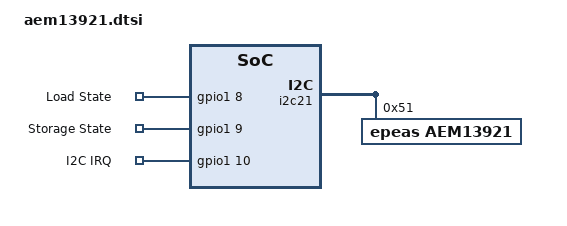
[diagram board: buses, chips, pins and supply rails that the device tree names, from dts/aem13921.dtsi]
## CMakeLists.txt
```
# SPDX-License-Identifier: Apache-2.0

cmake_minimum_required(VERSION 3.20.0)

set(EXTRA_DTC_OVERLAY_FILE "dts/dts.overlay")
set(TOOLCHAIN_HAS_PICOLIBC ON CACHE BOOL "Force toolchain picolibc support" FORCE)
list(APPEND ZEPHYR_EXTRA_MODULES "/home/theorlangur/myapps/cpp/nrf/libs/aem13921")

find_package(Zephyr REQUIRED HINTS $ENV{ZEPHYR_BASE})
project(smartwater)

target_include_directories(app PRIVATE submodules/esp_generic_lib/include)

set(SRCS 
    src/main.cpp
    src/usb_uart.cpp
    src/soil_task.cpp
    src/pump_and_pressure_task.cpp
    src/zigbee.cpp
)

target_sources(app PRIVATE ${SRCS})

add_subdirectory(submodules/nrf_general)
add_subdirectory(submodules/nrf_uart)
add_subdirectory(submodules/nrf_zbm_cpp)

target_include_directories(NrfLibUART PRIVATE submodules/esp_generic_lib/include)

target_link_libraries(app PUBLIC NrfLibGeneral)
target_link_libraries(app PUBLIC NrfZBMCpp)
target_include_directories(NrfZBMCpp PRIVATE $<TARGET_PROPERTY:app,INCLUDE_DIRECTORIES>)

target_link_libraries(app PUBLIC NrfLibUART)

target_compile_options(app PRIVATE -fno-omit-frame-pointer)

target_link_libraries(app PRIVATE c stdc++ supc++)
# target_compile_options(app PRIVATE -fmacro-backtrace-limit=0)
target_compile_options(app PRIVATE -D__cpp_concepts=202002L -Wno-builtin-macro-redefined -Wno-invalid-offsetof -Wno-unused-variable -Wno-double-promotion)
target_compile_options(app PRIVATE -freflection)
```

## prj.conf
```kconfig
#
# Copyright (c) 2020 Nordic Semiconductor ASA
#
# SPDX-License-Identifier: LicenseRef-Nordic-5-Clause
#
CONFIG_SERIAL=y
CONFIG_GPIO=y
CONFIG_ADC=y
CONFIG_SENSOR=y
CONFIG_PM_DEVICE=y
CONFIG_UART_USE_RUNTIME_CONFIGURE=y
# CONFIG_UART_NRFX_CUSTOM_BAUDRATE=y

CONFIG_SYSTEM_WORKQUEUE_STACK_SIZE=4096
CONFIG_OVERRIDE_FRAME_POINTER_DEFAULT=y
CONFIG_OMIT_FRAME_POINTER=n
CONFIG_EXTRA_EXCEPTION_INFO=y
CONFIG_HW_STACK_PROTECTION=y
# CONFIG_DEBUG=y
# CONFIG_NO_OPTIMIZATIONS=y
# CONFIG_DEBUG_OPTIMIZATIONS=n
CONFIG_THREAD_MONITOR=y
CONFIG_DEBUG_THREAD_INFO=y
CONFIG_INIT_STACKS=n
CONFIG_RESET_ON_FATAL_ERROR=n

CONFIG_REBOOT=y
CONFIG_RAM_POWER_DOWN_LIBRARY=y
CONFIG_SETTINGS=y
CONFIG_REGULATOR=y

CONFIG_BOOTLOADER_MCUBOOT=y

# CONFIG_DEBUG_COREDUMP=y
# CONFIG_DEBUG_COREDUMP_BACKEND_FLASH_PARTITION=y
# CONFIG_DEBUG_COREDUMP_MEMORY_DUMP_THREADS=y
# CONFIG_DEBUG_COREDUMP_THREADS_METADATA=y

# CONFIG_WATCHDOG=y
# CONFIG_WDT_DISABLE_AT_BOOT=y

CONFIG_HWINFO=y
CONFIG_AEM13921=y
```

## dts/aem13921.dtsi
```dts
/ {
	aem_irqs: aem_irqs {
		compatible = "gpio-keys";
		load: load{
			gpios = <&gpio1 8 (GPIO_ACTIVE_HIGH | GPIO_PULL_DOWN)>;
			label = "Load State";
		};
		sto: sto{
			gpios = <&gpio1 9 (GPIO_ACTIVE_HIGH | GPIO_PULL_DOWN)>;
			label = "Storage State";
		};
		i2c_irq: i2c_irq{
			gpios = <&gpio1 10 (GPIO_ACTIVE_HIGH | GPIO_PULL_DOWN)>;
			label = "I2C IRQ";
		};
	};
};


&i2c21 {
	aem13921: aem13921@51{
		compatible="epeas,aem13921";
		reg = <0x51>;
		status = "okay";
		//zephyr,deferred-init;
	};
};

&gpio1 {
	status = "okay";
};
```

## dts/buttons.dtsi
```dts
/ {
	buttons {
		compatible = "gpio-keys";

		button0: button_0 {
			gpios = <&gpio0 0 (GPIO_PULL_UP | GPIO_ACTIVE_LOW)>;
			label = "Button Boot";
		};
		button1: button_1 {
			gpios = <&gpio0 1 (GPIO_PULL_UP | GPIO_ACTIVE_LOW)>;
			label = "Button ZB";
		};
		button2: button_2 {
			gpios = <&gpio0 2 (GPIO_PULL_UP | GPIO_ACTIVE_LOW)>;
			label = "Button Ctrl";
		};
	};
};

&gpio0 {
	status = "okay";
};
```

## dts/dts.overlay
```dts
#include "partitions.dtsi"
#include "zigbee_partitions.dtsi"
#include "usb_uart.dtsi"
#include "buttons.dtsi"
#include "pump.dtsi"
#include "pressure.dtsi"
#include "soil.dtsi"
#include "aem13921.dtsi"

/ {
	chosen {
		ncs,zigbee-timer = &timer20;
		zephyr,code-partition = &slot0_partition;
		zephyr,console = &uart00;
	};

	zephyr,user {
		io-channels = <&adc 0>, <&adc 1>;
		io-channel-names = "pump_current", "pressure";
	};

	aliases {
	};

	cpuapp_sram@2002e800 {
		compatible = "zephyr,memory-region", "mmio-sram";
		reg = <0x2002e800 DT_SIZE_K(2)>;
		zephyr,memory-region = "BreadcrumbsMem";
		status = "okay";
		retainedmem {
			compatible = "zephyr,retained-ram";
			status = "okay";
		};
	};

};

&timer20 {
	status = "okay";
};

&pinctrl {
	//i2c sensor bus
	/omit-if-no-ref/ i2c21_default: i2c21_default {
		group1 {
			psels = <NRF_PSEL(TWIM_SDA, 1, 6)>,
				<NRF_PSEL(TWIM_SCL, 1, 5)>;
		};
	};

	/omit-if-no-ref/ i2c21_sleep: i2c21_sleep {
		group1 {
			psels = <NRF_PSEL(TWIM_SDA, 1, 6)>,
				<NRF_PSEL(TWIM_SCL, 1, 5)>;
			low-power-enable;
		};
	};
};

&i2c21 {
	status = "okay";
	pinctrl-0 = <&i2c21_default>;
	pinctrl-1 = <&i2c21_sleep>;
	pinctrl-names = "default", "sleep";
};


&cpuapp_sram {
	/* Shrink SRAM size to avoid overlap with retained memory region */
	reg = <0x20000000 DT_SIZE_K(186)>;
	ranges = <0x0 0x20000000 0x2e800>;
};
```

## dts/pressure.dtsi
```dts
&adc {
	status = "okay";
	#address-cells = <1>;
	#size-cells = <0>;

	channel@1 {
		reg = <1>;
		zephyr,gain = "ADC_GAIN_1_4";
		zephyr,reference = "ADC_REF_INTERNAL";
		zephyr,acquisition-time = <ADC_ACQ_TIME_DEFAULT>;
		zephyr,input-positive = <NRF_SAADC_AIN7>; /* P1.14 */
		zephyr,resolution = <12>;
	};
};

/ {
	pressure_sensor: pressure-sensor {
		compatible = "voltage-divider";
		status = "okay";
		io-channels = <&adc 1>;
		output-ohms = <10000>;
		full-ohms = <20000>;
	};
};

&gpio1 {
	status = "okay";
};
```

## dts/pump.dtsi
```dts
&adc {
	status = "okay";
	#address-cells = <1>;
	#size-cells = <0>;

	channel@0 {
		reg = <0>;
		zephyr,gain = "ADC_GAIN_1_4";
		zephyr,reference = "ADC_REF_INTERNAL";
		zephyr,acquisition-time = <ADC_ACQ_TIME_DEFAULT>;
		zephyr,input-positive = <NRF_SAADC_AIN3>; /* P1.07 */
		zephyr,resolution = <12>;
	};
};

/ {
	/* pump_pwm_ctrl: pump-pwm-regulator { */
	/* 	compatible = "regulator-fixed"; // Standard binding for fixed regulators */
	/* 	regulator-name = "pump_pwm_reg"; */
	/* 	status = "okay"; */
	/**/
	    /* GPIO controlling the MOSFET gate */
	    /* GPIO_ACTIVE_HIGH means the sensor is ON when GPIO is high */
	    /* Use GPIO_ACTIVE_LOW if your MOSFET logic is inverted */
	/* 	enable-gpios = <&gpio2 3 GPIO_ACTIVE_LOW>; */
	/**/
	    /* Optional: Define the voltage being regulated */
	/* 	// regulator-min-microvolt = ; // e.g., 3.3V */
	/* 	// regulator-max-microvolt = ; // e.g., 3.3V */
	/**/
	    /* Optional: Delay after enabling GPIO before regulator is considered stable */
	/* 	startup-delay-us = <100>; // 1us, adjust based on MOSFET and sensor VCC rise time */
	/**/
	    /* Optional: Specify that this regulator should be off initially */
	    /* regulator-boot-on; // Remove or comment out if you want it initially OFF */
	/* }; */

	pump_power_ctrl: pump-power-regulator {
		compatible = "regulator-fixed"; // Standard binding for fixed regulators
		regulator-name = "pump_power_reg";
		status = "okay";

		/* GPIO controlling the MOSFET gate */
		/* GPIO_ACTIVE_HIGH means the sensor is ON when GPIO is high */
		/* Use GPIO_ACTIVE_LOW if your MOSFET logic is inverted */
		enable-gpios = <&gpio1 4 GPIO_ACTIVE_HIGH>;

		/* Optional: Define the voltage being regulated */
		// regulator-min-microvolt = ; // e.g., 3.3V
		// regulator-max-microvolt = ; // e.g., 3.3V

		/* Optional: Delay after enabling GPIO before regulator is considered stable */
		startup-delay-us = <100000>; // 1us, adjust based on MOSFET and sensor VCC rise time

		/* Optional: Specify that this regulator should be off initially */
		//regulator-boot-on; // Remove or comment out if you want it initially OFF
	};
};

&gpio1 {
	status = "okay";
};

&gpio2 {
	status = "okay";
};
```

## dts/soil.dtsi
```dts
&adc {
	status = "okay";
	#address-cells = <1>;
	#size-cells = <0>;

	channel@2 {
		reg = <2>;
		zephyr,gain = "ADC_GAIN_1_4";
		zephyr,reference = "ADC_REF_INTERNAL";
		zephyr,acquisition-time = <ADC_ACQ_TIME_DEFAULT>;
		zephyr,input-positive = <NRF_SAADC_AIN4>; /* P1.11 */
		zephyr,resolution = <12>;
	};

	channel@3 {
		reg = <3>;
		zephyr,gain = "ADC_GAIN_1_4";
		zephyr,reference = "ADC_REF_INTERNAL";
		zephyr,acquisition-time = <ADC_ACQ_TIME_DEFAULT>;
		zephyr,input-positive = <NRF_SAADC_AIN5>; /* P1.12 */
		zephyr,resolution = <12>;
	};

	channel@4 {
		reg = <4>;
		zephyr,gain = "ADC_GAIN_1_4";
		zephyr,reference = "ADC_REF_INTERNAL";
		zephyr,acquisition-time = <ADC_ACQ_TIME_DEFAULT>;
		zephyr,input-positive = <NRF_SAADC_AIN6>; /* P1.13 */
		zephyr,resolution = <12>;
	};
};

/ {
	soil_sensors: soil-sensors{
		soil1_sensor: soil1-sensor {
			compatible = "voltage-divider";
			status = "okay";
			io-channels = <&adc 2>;
			power-gpios = <&gpio2 7 GPIO_ACTIVE_HIGH>;
			power-on-sample-delay-us = <50000>; 
			output-ohms = <100000>;
			full-ohms = <100000>;
		};

		soil2_sensor: soil2-sensor {
			compatible = "voltage-divider";
			status = "okay";
			io-channels = <&adc 3>;
			power-gpios = <&gpio2 8 GPIO_ACTIVE_HIGH>;
			power-on-sample-delay-us = <50000>; 
			output-ohms = <100000>;
			full-ohms = <100000>;
		};

		soil3_sensor: soil3-sensor {
			compatible = "voltage-divider";
			status = "okay";
			io-channels = <&adc 4>;
			power-gpios = <&gpio2 9 GPIO_ACTIVE_HIGH>;
			power-on-sample-delay-us = <50000>; 
			output-ohms = <100000>;
			full-ohms = <100000>;
		};
	};
};

&gpio1 {
	status = "okay";
};

&gpio2 {
	status = "okay";
};
```

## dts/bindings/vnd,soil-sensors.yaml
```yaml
description: Soil moisture ADC sensor group
compatible: "vnd,soil-sensors"

include: [base.yaml]

properties:
  io-channels:
    type: phandle-array
    required: true
    description: ADC channels connected to soil sensors
  power-regs:
    type: phandles
    required: true
    description: Power regulators on soil sensors
```

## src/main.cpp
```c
/*
 * Copyright (c) 2023, Meta
 *
 * SPDX-License-Identifier: Apache-2.0
 */

#include "lib_misc_helpers.hpp"
#define FORCE_FMT
#undef PRINTF_FUNC
#define PRINTF_FUNC(...) printk(__VA_ARGS__)

#include <zephyr/kernel.h>
#include <zephyr/drivers/gpio.h>
#include <zephyr/drivers/i2c.h>
#include <zephyr/settings/settings.h>
//#include <dk_buttons_and_leds.h>
//#include <nrf_general/led.h>

//#include <zephyr/drivers/sensor.h>
//#include <zephyr/drivers/sensor/ens160.h>

#include <zephyr/drivers/hwinfo.h>
#include <zephyr/drivers/watchdog.h>
#include <zephyr/storage/flash_map.h>
#include "usb_uart.hpp"
#include "threads_snapshot.hpp"
#include "partition_basic.hpp"
#include "soil_task.hpp"
#include "pump_and_pressure_task.hpp"
#include "zigbee.hpp"


#include <zephyr/logging/log.h>
#include <zephyr/drivers/sensor/aem13921.hpp>

#include <atomic>

//extern "C"{
//#include <zephyr/debug/coredump.h>
//
//void nrf_flash_skip_sync(bool skip);
//}

constexpr bool kDebug = false;

#define BREADCRUMBS_PARTITION		breadcrumbs_partition
#define BREADCRUMBS_PARTITION_ID	FIXED_PARTITION_ID(BREADCRUMBS_PARTITION)

LOG_MODULE_REGISTER(main_log, LOG_LEVEL_INF);


/**********************************************************************/
/* For testing purposes                                               */
/**********************************************************************/

static const struct gpio_dt_spec btn0 = GPIO_DT_SPEC_GET(DT_NODELABEL(button0), gpios);
static const struct gpio_dt_spec btn1 = GPIO_DT_SPEC_GET(DT_NODELABEL(button1), gpios);
static const struct gpio_dt_spec btn2 = GPIO_DT_SPEC_GET(DT_NODELABEL(button2), gpios);

static const struct gpio_dt_spec aem13921_irq = GPIO_DT_SPEC_GET(DT_NODELABEL(i2c_irq), gpios);

static struct gpio_callback btn0_cb_data;
static struct gpio_callback aem_cb_data;
static struct k_work test_measure_soil_work;

void measure_soil_handler(soil::soil_result_t *pResults, size_t count, uint32_t mask, void *pUserArg)
{
    for(size_t i = 0; i < count; ++i)
    {
	if (mask & (1 << i))
	{
	    auto &r = pResults[i];
	    if (r)
	    {
		LOG_INF("soil%d: %.2f%%", (int)i, double(*r));
	    }else
	    {
		LOG_INF("soil%d: %d (%s)", (int)i, r.error(), strerror(r.error()));
	    }
	}
    }
}

bool dump_aem_info = false;
static struct k_work btn0_work;
static void btn0_work_handler(struct k_work *work)
{
    LOG_INF("button press registered");
    dump_aem_info = true;
}

static void btn0_isr(const struct device *dev, struct gpio_callback *cb, uint32_t pins)
{
    /* Defer PM state change out of interrupt context */
    //soil::run_measurements({.soil_sensors_mask = 0b0111, .callback = measure_soil_handler});
    //pump::command(pump::start_t{.duration = 10000, .power_percentage = 80}, nullptr, nullptr);
    pump::command(pump::pressure_measure_t{}, nullptr, nullptr);
    k_work_submit(&btn0_work);
}


void on_pressure_measured(float level_percentage)
{
    LOG_INF("Received pressure measurement: %.2f", level_percentage);
}

static const struct device *const aem13921_dev = DEVICE_DT_GET(DT_NODELABEL(aem13921));

size_t dbg_dump_aem13921_status(epeas::status_t s, char *buf, size_t sz)
{
    size_t used_len = 0;
    char *p = buf;
    auto add_flag = [&](bool f, std::string_view v)
    {
	if (f && (used_len + v.size() + 1) <= sz)
	{
	    strcpy(p, v.data());
	    p += v.size();
	    used_len += v.size();
	}
    };
    add_flag(s.bits.ovdischarge, "ovdis; ");
    add_flag(s.bits.charge_ready, "chrdy; ");
    add_flag(s.bits.overcharge, "ovch; ");
    add_flag(s.bits.src1_low, "s1low; ");
    add_flag(s.bits.src2_low, "s2low; ");
    add_flag(s.bits.charger_5v_connected, "ch5v; ");
    add_flag(s.bits.temp_cold_charge, "t_cold_ch; ");
    add_flag(s.bits.temp_hot_charge, "t_hot_ch; ");
    add_flag(s.bits.temp_cold_dis, "t_cold_dis; ");
    add_flag(s.bits.temp_hot_discharge, "t_hot_dis; ");
    return used_len;
}

void dbg_aem13921()
{
    LOG_INF("<================AEM13921=================>");
	//   {
	//auto irq = epeas::aem1392x_get_irq_state(aem13921_dev);
	//if (irq)
	//{
	//    LOG_INF("irq: 0x%X 0x%X", (*irq).bytes[0], (*irq).bytes[1]);
	//}else
	//{
	//    LOG_ERR("irq: failed with %d %s", irq.error(), strerror(irq.error()));
	//}
	//   }
    {
	auto status = epeas::aem1392x_get_status(aem13921_dev);
	if (status)
	{
	    char buf[128]={0};
	    dbg_dump_aem13921_status(*status, buf, sizeof(buf));
	    LOG_INF("status: 0x%X 0x%X; %s", (*status).bytes[0], (*status).bytes[1], buf);
	}else
	{
	    LOG_ERR("status: failed with %d %s", status.error(), strerror(status.error()));
	}
    }

    {
	auto apm_err = epeas::aem1392x_get_apm_error(aem13921_dev);
	if (apm_err)
	{
	    LOG_INF("apm error: 0x%X", apm_err->byte);
	}
	else
	{
	    LOG_ERR("apm error: failed with %d %s", apm_err.error(), strerror(apm_err.error()));
	}
    }

    {
	auto apm_5v = epeas::aem1392x_get_apm_ch5v(aem13921_dev);
	if (apm_5v)
	{
	    LOG_INF("apm 5v: %d", apm_5v->value);
	}
	else
	{
	    LOG_ERR("apm 5v: failed with %d %s", apm_5v.error(), strerror(apm_5v.error()));
	}
    }
    {
	auto apm_src1 = epeas::aem1392x_get_apm_src1(aem13921_dev);
	if (apm_src1)
	{
	    std::visit(
		overloaded{
		    [](const epeas::apm_counter_no_acc_t &v)
		    {
			LOG_INF("apm src1 cnt no acc: %d", v.value.counter);
		    },
		    [](const epeas::apm_counter_acc_t &v)
		    {
			LOG_INF("apm src1 cnt acc: %d:%d", v.value.offset, v.value.counter);
		    },
		    [](const epeas::apm_power_meter_acc_t &v)
		    {
			LOG_INF("apm src1 power: %d:%d", v.value.offset, v.value.power);
		    }
		},
		*apm_src1
	    );
	}
	else
	{
	    LOG_ERR("apm src1: failed with %d %s", apm_src1.error(), strerror(apm_src1.error()));
	}
    }
    {
	auto apm_src2 = epeas::aem1392x_get_apm_src2(aem13921_dev);
	if (apm_src2)
	{
	    std::visit(
		overloaded{
		    [](const epeas::apm_counter_no_acc_t &v)
		    {
			LOG_INF("apm src2 cnt no acc: %d", v.value.counter);
		    },
		    [](const epeas::apm_counter_acc_t &v)
		    {
			LOG_INF("apm src2 cnt acc: %d:%d", v.value.offset, v.value.counter);
		    },
		    [](const epeas::apm_power_meter_acc_t &v)
		    {
			LOG_INF("apm src2 power: %d:%d", v.value.offset, v.value.power);
		    }
		},
		*apm_src2
	    );
	}
	else
	{
	    LOG_ERR("apm src2: failed with %d %s", apm_src2.error(), strerror(apm_src2.error()));
	}
    }
    {
	auto apm_load = epeas::aem1392x_get_apm_load(aem13921_dev);
	if (apm_load)
	{
	    std::visit(
		overloaded{
		    [](const epeas::apm_counter_no_acc_t &v)
		    {
			LOG_INF("apm load cnt no acc: %d", v.value.counter);
		    },
		    [](const epeas::apm_counter_acc_t &v)
		    {
			LOG_INF("apm load cnt acc: %d:%d", v.value.offset, v.value.counter);
		    },
		    [](const epeas::apm_power_meter_acc_t &v)
		    {
			LOG_INF("apm load power: %d:%d", v.value.offset, v.value.power);
		    }
		},
		*apm_load
	    );
	}
	else
	{
	    LOG_ERR("apm load: failed with %d %s", apm_load.error(), strerror(apm_load.error()));
	}
    }
    {
	auto storage_v = epeas::aem1392x_get_storage_voltage(aem13921_dev);
	if (storage_v)
	{
	    LOG_INF("storage v: %.3f", (double)*storage_v);
	}
	else
	{
	    LOG_ERR("storage v: failed with %d %s", storage_v.error(), strerror(storage_v.error()));
	}
    }
    {
	auto src1_v = epeas::aem1392x_get_src_voltage(aem13921_dev, epeas::src_t::_1);
	if (src1_v)
	{
	    LOG_INF("src1 v: %.3f", (double)*src1_v);
	}
	else
	{
	    LOG_ERR("src1 v: failed with %d %s", src1_v.error(), strerror(src1_v.error()));
	}
    }
    {
	auto src2_v = epeas::aem1392x_get_src_voltage(aem13921_dev, epeas::src_t::_2);
	if (src2_v)
	{
	    LOG_INF("src2 v: %.3f", (double)*src2_v);
	}
	else
	{
	    LOG_ERR("src2 v: failed with %d %s", src2_v.error(), strerror(src2_v.error()));
	}
    }
    LOG_INF("<================AEM13921=================>");
}

static uint64_t total_load_power = 0;
static struct k_work aem_work;
static void aem_work_handler(struct k_work *work)
{
    //LOG_INF("AEM interrupt");
    auto state = epeas::aem1392x_get_irq_state(aem13921_dev);
    if (state)
    {
	auto s = *state;
	//LOG_INF("irq: 0x%X 0x%X", s.bytes[0], s.bytes[1]);
	if (s.bits.apm_done)
	{
	    auto print_apm = [](const auto &apm, const char *pPrefix){
		if (apm)
		{
		    std::visit(
			    overloaded{
				[&](const epeas::apm_counter_acc_t &rv)
				{
				    if (auto v = rv.get_value())
					LOG_INF("%s (counter acc): %llu", pPrefix, v);
				},
				[&](const epeas::apm_counter_no_acc_t &rv)
				{
				    if (rv.value.counter)
					LOG_INF("%s (counter no acc): %u", pPrefix, rv.value.counter);
				},
				[&](const epeas::apm_power_meter_acc_t &rv)
				{
				    if (auto v = rv.get_value())
					LOG_INF("%s (power): %llu", pPrefix, v);
				}
			    },
			    *apm
			);
		}else
		{
		    LOG_ERR("%s: failed with %d %s", pPrefix, apm.error(), strerror(apm.error()));
		}
	    };

	    {
		auto apm_load = epeas::aem1392x_get_apm_load(aem13921_dev);
		print_apm(apm_load, "APM Load");
	    }
	    {
		auto apm_src1 = epeas::aem1392x_get_apm_src1(aem13921_dev);
		print_apm(apm_src1, "APM Src1");
	    }
	    {
		auto apm_src2 = epeas::aem1392x_get_apm_src2(aem13921_dev);
		print_apm(apm_src2, "APM Src2");
	    }

	    auto apm_5v = epeas::aem1392x_get_apm_ch5v(aem13921_dev);
	    if (apm_5v)
	    {
		auto v = apm_5v->value;
		if (v)
		{
		    LOG_INF("APM 5v: %u", v);
		}
	    }else
	    {
		LOG_ERR("apm 5v: failed with %d %s", apm_5v.error(), strerror(apm_5v.error()));
	    }

	    auto apm_err = epeas::aem1392x_get_apm_error(aem13921_dev);
	    LOG_INF("APM Err: 0x%X", apm_err->byte);
	}
	if (s.bits.apm_error)
	{
	    auto apm_err = epeas::aem1392x_get_apm_error(aem13921_dev);
	    if (apm_err)
	    {
		LOG_INF("APM Err: 0x%X", apm_err->byte);
	    }else
	    {
		LOG_ERR("apm err: failed with %d %s", apm_err.error(), strerror(apm_err.error()));
	    }
	}
    }else
    {
	LOG_ERR("irq state: failed with %d %s", state.error(), strerror(state.error()));
    }
}

static void aem_isr(const struct device *dev, struct gpio_callback *cb, uint32_t pins)
{
    k_work_submit(&aem_work);
}

int main(void)
{
    //static_assert(atomic_state_t::is_always_lock_free);
    //disable_hw_wdt();

    //usb_uart::setup();
    //LOG_INF("aem13921 test: %d", aem13921_hello());
    soil::setup_task();
    pump::setup_task(on_pressure_measured);
    zb::setup();

    int err = settings_subsys_init();
    uint8_t v;
    err = epeas::aem1392x_get_version(aem13921_dev, &v);
    LOG_INF("aem13921 test: %d, %d", err, v);

    //epeas::aem1392x_configure_src_regulation_mppt(aem13921_dev, epeas::src_t::_0, {.ratio = epeas::mppt_ratio_t::_75, .wait = epeas::mppt_wait_t::_116, .period = epeas::mppt_period_t::_14895});
    //epeas::aem1392x_configure_src_regulation_voltage(aem13921_dev, epeas::src_t::_1, 0.5);
    auto res = epeas::aem1392x_get_src_regulation(aem13921_dev, epeas::src_t::_1);
    if (res)
    {
	auto const& v = *res;
	//auto *pmppt = std::get_if<epeas::src_mppt_cfg_t>(&v);
	//v.visit();
    }else
    {
	LOG_INF("aem13921 test@: %d", res.error());
    }

    k_work_init(&btn0_work, btn0_work_handler);
    k_work_init(&aem_work, aem_work_handler);

    err = gpio_pin_configure_dt(&btn0, GPIO_INPUT);
    if (err < 0) 
	LOG_INF("btn0 cfg: %d (%s)", err, strerror(err));
    err = gpio_pin_interrupt_configure_dt(&btn0, GPIO_INT_EDGE_TO_INACTIVE);
    if (err < 0)
	LOG_INF("btn0 int cfg: %d (%s)", err, strerror(err));
    gpio_init_callback(&btn0_cb_data, btn0_isr, BIT(btn0.pin));
    err = gpio_add_callback(btn0.port, &btn0_cb_data);
    if (err < 0)
	LOG_INF("btn0 cb: %d (%s)", err, strerror(err));

	//   err = gpio_pin_configure_dt(&aem13921_irq, GPIO_INPUT);
	//   if (err < 0) 
	//LOG_INF("aem13921_irq cfg: %d (%s)", err, strerror(err));
	//   err = gpio_pin_interrupt_configure_dt(&aem13921_irq, GPIO_INT_EDGE_TO_ACTIVE);
	//   gpio_init_callback(&aem_cb_data, aem_isr, BIT(aem13921_irq.pin));
	//   err = gpio_add_callback(aem13921_irq.port, &aem_cb_data);
	//   if (err < 0)
	//LOG_INF("aem13921_irq cb: %d (%s)", err, strerror(err));

	//   epeas::aem1392x_configure_buck(aem13921_dev, epeas::buck_cfg_t{.bits = {.vload = epeas::vload_t::_3_3V, .tmult = epeas::tmult_t::x4}});
	//   epeas::aem1392x_configure_apm(aem13921_dev, epeas::apm_cfg_t{.bits = {.src1 = true, .src2 = false, .buck = true, .ch5v = true, .mode = epeas::apm_mode_t::Counter, .win = epeas::apm_window_t::_233ms}});
	//   epeas::aem1392x_set_apm_accumulation_period(aem13921_dev, 10);
	//   {
	//epeas::irq_event_t irq_cfg;
	//irq_cfg.set_apm_done(true);
	//irq_cfg.set_apm_error(true);
	//epeas::aem1392x_configure_irq(aem13921_dev, irq_cfg);
	//   }
	//
	//   epeas::aem1392x_commit(aem13921_dev);
	//   aem_work_handler(nullptr);

	//   {
	//auto ctrl = epeas::aem1392x_get_ctrl_state(aem13921_dev);
	//LOG_INF("Ctrl: 0x%X", *ctrl);
	//   }
	//
	//   {
	//LOG_INF("IRQ Cfg:");
	//auto irq_cfg = epeas::aem1392x_get_irq_configuration(aem13921_dev);
	//if (irq_cfg)
	//{
	//    LOG_INF("byte0: 0x%X; byte1: 0x%X", irq_cfg.value().reg.bytes[0], irq_cfg.value().reg.bytes[1]);
	//}else
	//{
	//    LOG_ERR("Failed to get IRQ cfg: %d (%s)", irq_cfg.error(), strerror(irq_cfg.error()));
	//}
	//   }
	//   {
	//auto apm_cfg = epeas::aem1392x_get_apm_configuration(aem13921_dev);
	//LOG_INF("APM Cfg: 0x%X", apm_cfg->byte);
	//auto apm_win = epeas::aem1392x_get_apm_accumulation_period(aem13921_dev);
	//LOG_INF("APM Period: 0x%X", *apm_win);
	//   }

    printk("main\r\n");

    while (1) {
	if (dump_aem_info)
	{
	    dbg_aem13921();
	    dump_aem_info = false;
	}
	k_msleep(1000);
    }

    return 0;
}
```

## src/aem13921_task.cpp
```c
#include "aem13921_task.hpp"

#include <iterator>
#include <nrf_general/lib_msgq_typed.hpp>
#include <zephyr/logging/log.h>
#include <zephyr/drivers/sensor/aem13921.hpp>

LOG_MODULE_REGISTER(aem13921, LOG_LEVEL_INF);

namespace aem13921
{
    static const struct gpio_dt_spec aem13921_irq = GPIO_DT_SPEC_GET(DT_NODELABEL(i2c_irq), gpios);
    static const struct device *const aem13921_dev = DEVICE_DT_GET(DT_NODELABEL(aem13921));

    constexpr size_t AEM13921_THREAD_STACK_SIZE = 2*1024;
    constexpr size_t AEM13921_THREAD_PRIORITY=3;

    void aem_service_thread(void *, void *, void *);
    K_THREAD_DEFINE(aem13921_sense_thread, AEM13921_THREAD_STACK_SIZE,
	    aem_service_thread, NULL, NULL, NULL,
	    AEM13921_THREAD_PRIORITY, 0, -1);

    void aem_service_thread(void *, void *, void *)
    {
	while(true)
	{
	}
    }

    int setup_task()
    {
	k_thread_start(aem13921_sense_thread);
	return 0;
    }
}
```

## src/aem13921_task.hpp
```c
#ifndef AEM13921_TASK_HPP_
#define AEM13921_TASK_HPP_

namespace aem13921
{
    int setup_task();
}
#endif
```

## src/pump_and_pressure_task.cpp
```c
#include "pump_and_pressure_task.hpp"
#include "lib_misc_helpers.hpp"

#include <nrf_general/lib_msgq_typed.hpp>
#include <zephyr/drivers/sensor.h>
#include <zephyr/drivers/regulator.h>
#include <zephyr/logging/log.h>
#include <hal/nrf_timer.h>
#include <hal/nrf_gpio.h>

LOG_MODULE_REGISTER(pump, LOG_LEVEL_INF);

namespace pump
{
    template<size_t timerBase, int TimerIrqNum, int Pin, int Freq, bool ActiveHigh>
    struct soft_pwm_t
    {
	static inline constexpr auto kPWM_Pin_Mask = BIT(Pin);
	static inline constexpr auto kPWM_TimerPrio = 1;
	static inline constexpr auto kPWM_TimerPrescaler = NRF_TIMER_FREQ_16MHz;
	static inline constexpr auto kPWM_TicksPerSec = 16'000'000;
	static inline constexpr auto kPWM_PeriodTicks = kPWM_TicksPerSec / Freq;
	static inline constexpr auto kPWM_MinDutyTickSize = kPWM_PeriodTicks / 200;//0.5%
										   //
	constexpr soft_pwm_t() = default;

	inline static NRF_TIMER_Type *TimerBase() { return (NRF_TIMER_Type *)timerBase;}

	inline static void set_active()
	{
	    if constexpr (ActiveHigh)
		NRF_P2->OUTSET = kPWM_Pin_Mask;
	    else
		NRF_P2->OUTCLR = kPWM_Pin_Mask;
	}

	inline static void set_inactive()
	{
	    if constexpr (!ActiveHigh)
		NRF_P2->OUTSET = kPWM_Pin_Mask;
	    else
		NRF_P2->OUTCLR = kPWM_Pin_Mask;
	}

	void set_duty(float duty_percent)
	{
	    if (duty_percent < 0.0f) duty_percent = 0.0f;
	    if (duty_percent > 100.0f) duty_percent = 100.0f;

	    /* Boundary 0%: Disable compare events, force pin LOW */
	    if (duty_percent <= 0.0f) {
		nrf_timer_int_disable(TimerBase(), NRF_TIMER_INT_COMPARE0_MASK | NRF_TIMER_INT_COMPARE1_MASK);
		set_inactive();
		m_DutyCycleTicks = 0;
		return;
	    }

	    /* Boundary 100%: Disable compare events, force pin HIGH */
	    if (duty_percent >= 100.0f) {
		nrf_timer_int_disable(TimerBase(), NRF_TIMER_INT_COMPARE0_MASK | NRF_TIMER_INT_COMPARE1_MASK);
		set_active();
		m_DutyCycleTicks = kPWM_PeriodTicks;
		return;
	    }

	    /* Active PWM: Clamp narrow pulses (< 1.5 us) to avoid ISR re-entrancy collision */
	    uint32_t ticks = (uint32_t)((duty_percent / 100.0f) * (float)kPWM_PeriodTicks);
	    if (ticks < kPWM_MinDutyTickSize) ticks = kPWM_MinDutyTickSize;
	    if (ticks > (kPWM_PeriodTicks - kPWM_MinDutyTickSize)) ticks = kPWM_PeriodTicks - kPWM_MinDutyTickSize;

	    m_DutyCycleTicks = ticks;
	    nrf_timer_cc_set(TimerBase(), NRF_TIMER_CC_CHANNEL0, m_DutyCycleTicks);
	    nrf_timer_int_enable(TimerBase(), NRF_TIMER_INT_COMPARE0_MASK | NRF_TIMER_INT_COMPARE1_MASK);
	}

	bool is_active() const
	{
	    return m_DutyCycleTicks > 0;
	}

	void stop()
	{
	    nrf_timer_int_disable(TimerBase(), NRF_TIMER_INT_COMPARE0_MASK | NRF_TIMER_INT_COMPARE1_MASK);
	    nrf_timer_task_trigger(TimerBase(), NRF_TIMER_TASK_STOP);
	    m_DutyCycleTicks = 0;
	    set_inactive();
	}

	void deactivate()
	{
	    if (is_active())
		stop();

	    NRF_P2->PIN_CNF[Pin] = (GPIO_PIN_CNF_DIR_Input << GPIO_PIN_CNF_DIR_Pos) |
		(GPIO_PIN_CNF_INPUT_Disconnect << GPIO_PIN_CNF_INPUT_Pos);
	}

	void setup()
	{
	    //nrf_gpio_cfg(NRF_GPIO_PIN_MAP(2, Pin)
	    // , NRF_GPIO_PIN_DIR_OUTPUT
	    // , NRF_GPIO_PIN_INPUT_DISCONNECT
	    // , NRF_GPIO_PIN_NOPULL
	    // , NRF_GPIO_PIN_S0H1
	    // , NRF_GPIO_PIN_NOSENSE
	    // );

	    /* 1. Configure Port 2 pin as output */
	    NRF_P2->PIN_CNF[Pin] = (GPIO_PIN_CNF_DIR_Output << GPIO_PIN_CNF_DIR_Pos) |
		(GPIO_PIN_CNF_INPUT_Disconnect << GPIO_PIN_CNF_INPUT_Pos) |
		(GPIO_PIN_CNF_DRIVE0_H0 << GPIO_PIN_CNF_DRIVE0_Pos); /* High Drive */
	    NRF_P2->OUTCLR = kPWM_Pin_Mask;

	    /* 2. Configure 32-bit Hardware Timer */
	    nrf_timer_mode_set(TimerBase(), NRF_TIMER_MODE_TIMER);
	    nrf_timer_bit_width_set(TimerBase(), NRF_TIMER_BIT_WIDTH_32);
	    nrf_timer_prescaler_set(TimerBase(), kPWM_TimerPrescaler);

	    /* CC[1] defines the period; hardware shortcut resets timer on match */
	    nrf_timer_cc_set(TimerBase(), NRF_TIMER_CC_CHANNEL1, kPWM_PeriodTicks);
	    nrf_timer_shorts_enable(TimerBase(), NRF_TIMER_SHORT_COMPARE1_CLEAR_MASK);

	    /* 3. Connect IRQ */
	    IRQ_CONNECT(TimerIrqNum, kPWM_TimerPrio, timer_pwm_isr, NULL, 0);
	    irq_enable(TimerIrqNum);

	    /* 4. Start timer */
	    nrf_timer_task_trigger(TimerBase(), NRF_TIMER_TASK_CLEAR);
	    nrf_timer_task_trigger(TimerBase(), NRF_TIMER_TASK_START);

	    set_duty(0.0f);
	}
    private:
	static void timer_pwm_isr(const void *arg)
	{
	    if (nrf_timer_event_check(TimerBase(), NRF_TIMER_EVENT_COMPARE0)) {
		nrf_timer_event_clear(TimerBase(), NRF_TIMER_EVENT_COMPARE0);
		set_inactive();
	    }

	    /* End of period -> Set pin HIGH */
	    if (nrf_timer_event_check(TimerBase(), NRF_TIMER_EVENT_COMPARE1)) {
		nrf_timer_event_clear(TimerBase(), NRF_TIMER_EVENT_COMPARE1);
		set_active();
	    }
	}
	uint32_t m_DutyCycleTicks = 0;
    };

    constinit const struct device *pressure = DEVICE_DT_GET(DT_NODELABEL(pressure_sensor));
    constinit const struct device *pump_power = DEVICE_DT_GET(DT_NODELABEL(pump_power_ctrl));
    //constinit const struct device *pump_ctrl = DEVICE_DT_GET(DT_NODELABEL(pump_pwm_ctrl));
    constinit soft_pwm_t<NRF_TIMER00_S_BASE, TIMER00_IRQn, 3, 2000, false> pump_ctrl;

    struct request_t
    {
	param_t p;
	cb_t cb;
	void *user;
    };

    using Queue = msgq::Queue<request_t,4>;
    K_MSGQ_DEFINE_TYPED(Queue, q);

    void command(param_t p, cb_t cb, void *user)
    {
	q << request_t{std::move(p), cb, user};
    }


    std::expected<float, error_t> measure_pressure_raw()
    {
	int err = sensor_sample_fetch(pressure);
	if (err < 0) return std::unexpected(err);

	sensor_value v;
	err = sensor_channel_get(pressure, sensor_channel::SENSOR_CHAN_VOLTAGE, &v);
	if (err < 0) return std::unexpected(err);
	float pressure;
	pressure = v.val1 + float(v.val2) / 1'000'000.f;
	return pressure;
    }

    constinit float max_sensor_pressure = 4.7f;
    constinit float min_sensor_pressure = 0.3f;
    static float calibrated_max_pressure = max_sensor_pressure;

    constinit water_level_cb_t g_water_level_cb = nullptr;
    std::expected<float, error_t> measure_pressure()
    {
	k_msleep(2);
	return measure_pressure_raw()
		.and_then([](float pressure)->std::expected<float, error_t>
		{
		    pressure = std::clamp(pressure, 0.f, calibrated_max_pressure);
		    pressure = (pressure / calibrated_max_pressure) * 100.f;
		    return pressure;
		});
    }


    void pump_thread(void *, void *, void *);

    constexpr size_t PUMP_THREAD_STACK_SIZE = 4*1024;
    constexpr size_t PUMP_THREAD_PRIORITY=2;

    K_THREAD_DEFINE(pump_thread_obj, PUMP_THREAD_STACK_SIZE,
	    pump_thread, NULL, NULL, NULL,
	    PUMP_THREAD_PRIORITY, 0, -1);

    void pump_thread(void *, void *, void *)
    {
	k_timeout_t timeout = K_FOREVER;
	uint32_t last_timestamp = k_uptime_get_32();
	uint32_t pump_start_timestamp = 0;
	uint32_t pump_timeout = 0;
	bool pump_active = false;
	while(true)
	{
	    request_t r;
	    uint32_t pre_queue_wait = k_uptime_get_32();
	    if (q.Recv(r, timeout) == -EAGAIN)
	    {
		LOG_INF("timed out. scheduling stop");
		r = {stop_t{}, nullptr, nullptr};
	    }
	    else if (pump_active)
	    {
		uint32_t now = k_uptime_get_32();
		//re-configure timeout for the rest of time
		if ((now - pre_queue_wait) <= pump_timeout)
		{
		    pump_timeout -= now - pre_queue_wait;
		    timeout = Z_TIMEOUT_MS(pump_timeout);
		}
		else
		{
		    LOG_INF("received entry, but also timed out. scheduling stop");
		    pump_timeout = 0;
		    command(stop_t{}, nullptr, nullptr);
		}
	    }

	    error_t e = std::visit(
		overloaded{
		    [&](start_t const &p)->error_t{
			error_t err;
			pump_ctrl.stop();
			pump_ctrl.setup();//before enabling power to the motor -> put it into duty 0%
			if ((err = regulator_enable(pump_power)) < 0)
			{
			    LOG_ERR("power regulator failed: %d (%s)", err, strerror(err));
			    return err;
			}
			//ramp up, instead of immediate
			for(float i = 0; i < p.power_percentage; i += p.power_percentage / 10)
			{
			    pump_ctrl.set_duty(i);
			    k_msleep(100);
			}
			pump_ctrl.set_duty(p.power_percentage);

			pump_active = true;
			pump_timeout = p.duration;
			timeout = Z_TIMEOUT_MS(p.duration);
			last_timestamp = k_uptime_get_32();
			pump_start_timestamp = last_timestamp;
			LOG_INF("started. for %dms", pump_timeout);
			return err;
		    },
		    [&](extend_duration_t const &p)->error_t{
			if (pump_active)
			{
			    LOG_INF("extending duration for %dms", p.additional_duration);
			    uint32_t now = k_uptime_get_32();
			    pump_timeout = now - last_timestamp + p.additional_duration;
			    timeout = Z_TIMEOUT_MS(pump_timeout);
			    last_timestamp = now;
			}
			return 0;
		    },
		    [&](set_duration_t const &p)->error_t{
			if (pump_active)
			{
			    uint32_t now = k_uptime_get_32();
			    if ((now - pump_start_timestamp) >= p.duration)
			    {
				LOG_INF("set duration: new duration (%dms) less than ellapsed. stopping", p.duration);
				//stop immediately
				command(stop_t{}, nullptr, nullptr);
			    }else
			    {
				LOG_INF("set duration: new duration (%dms) is bigger than ellapsed. extendnig", p.duration);
				//extend the timeout
				uint32_t delta = p.duration - (now - pump_start_timestamp);
				pump_timeout = now - last_timestamp + delta;
				timeout = Z_TIMEOUT_MS(pump_timeout);
				last_timestamp = now;
			    }
			}
			return 0;
		    },
		    [&](stop_t p)->error_t{
			pump_ctrl.stop();
			auto water_level = measure_pressure();
			regulator_disable(pump_power);
			pump_ctrl.deactivate();
			timeout = K_FOREVER;
			pump_active = false;
			LOG_INF("stopped");
			if (!water_level)
			    return water_level.error();
			if (g_water_level_cb)
			    g_water_level_cb(*water_level);
			return 0;
		    },
		    [&](pressure_calibrate_t p)->error_t{
			if (pump_ctrl.is_active())
			{
			    pump_ctrl.stop();
			    k_msleep(1);
			    timeout = K_FOREVER;
			    pump_active = false;
			}

			int err;
			if ((err = regulator_enable(pump_power)) < 0)
			    return err;

			{
			    k_msleep(50);
			    auto r = measure_pressure_raw();
			    if (!r)
				return r.error();
			    calibrated_max_pressure = r.value();
			    if (calibrated_max_pressure < min_sensor_pressure)
				calibrated_max_pressure = min_sensor_pressure;
			    LOG_INF("calibrated to %.2f", calibrated_max_pressure);
			}
			regulator_disable(pump_power);
			return err;
		    },
		    [&](pressure_reset_calibration_t p)->error_t{
			calibrated_max_pressure = max_sensor_pressure;
			LOG_INF("calibration reset");
			return 0;
		    },
		    [&](pressure_measure_t p)->error_t{
			LOG_INF("pressure measure");
			int err;
			if ((err = regulator_enable(pump_power)) < 0)
			    return err;
			ScopeExit onExit = []{ regulator_disable(pump_power); };

			{
			    k_msleep(50);
			    auto water_level = measure_pressure();
			    if (!water_level)
				return water_level.error();
			    LOG_INF("pressure measure results: %.2f", *water_level);
			    if (g_water_level_cb)
				g_water_level_cb(*water_level);
			}
			return 0;
		    },
		},
		r.p
	    );
	    if (r.cb)
		r.cb(e, r.p, r.user);
	}
    }

    error_t setup_task(water_level_cb_t water_level_cb)
    {
	if (!device_is_ready(pump_power))
	{
	    LOG_ERR("power regulator device not ready");
	    return -ENODEV;
	}
	pump_ctrl.stop();
	pump_ctrl.deactivate();//put to GND
	g_water_level_cb = water_level_cb;
	k_thread_start(pump_thread_obj);
	return 0;
    }
}
```

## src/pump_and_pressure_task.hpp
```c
#ifndef PUMP_TASK_HPP_
#define PUMP_TASK_HPP_
#include <cstddef>
#include <cstdint>
#include <variant>

namespace pump
{
    struct start_t
    {
        uint32_t duration = 1000;
        float power_percentage = 100.f;//0..100%
    };
    struct extend_duration_t
    {
        uint32_t additional_duration = 1000;
    };
    struct set_duration_t
    {
        uint32_t duration = 1000;
    };
    struct stop_t
    {
    };
    struct pressure_calibrate_t//get the current voltage of pressure sensor and consider it 100% water level
    {
    };
    struct pressure_reset_calibration_t//get the current voltage of pressure sensor and consider it 100% water level
    {
    };
    struct pressure_measure_t
    {
    };

    using param_t = std::variant<start_t, extend_duration_t, set_duration_t, stop_t, pressure_calibrate_t, pressure_reset_calibration_t, pressure_measure_t>;
    using error_t = int;
    using cb_t = void(*)(error_t err, param_t const& p, void *pUserArg);
    using water_level_cb_t = void(*)(float level_percentage);

    error_t setup_task(water_level_cb_t water_level_cb = nullptr);
    void command(param_t p, cb_t cb = nullptr, void *user = nullptr);
}
#endif
```

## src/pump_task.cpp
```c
#include "pump_task.hpp"
#include "lib_misc_helpers.hpp"

#include <nrf_general/lib_msgq_typed.hpp>
#include <zephyr/drivers/regulator.h>
#include <zephyr/logging/log.h>
#include <hal/nrf_timer.h>
#include <hal/nrf_gpio.h>

LOG_MODULE_REGISTER(pump, LOG_LEVEL_INF);

namespace pump
{
    template<size_t timerBase, int TimerIrqNum, int Pin, int Freq, bool ActiveHigh>
    struct soft_pwm_t
    {
	static inline constexpr auto kPWM_Pin_Mask = BIT(Pin);
	static inline constexpr auto kPWM_TimerPrio = 1;
	static inline constexpr auto kPWM_TimerPrescaler = NRF_TIMER_FREQ_16MHz;
	static inline constexpr auto kPWM_TicksPerSec = 16'000'000;
	static inline constexpr auto kPWM_PeriodTicks = kPWM_TicksPerSec / Freq;
	static inline constexpr auto kPWM_MinDutyTickSize = kPWM_PeriodTicks / 200;//0.5%
										   //
	constexpr soft_pwm_t() = default;

	inline static NRF_TIMER_Type *TimerBase() { return (NRF_TIMER_Type *)timerBase;}

	inline static void set_active()
	{
	    if constexpr (ActiveHigh)
		NRF_P2->OUTSET = kPWM_Pin_Mask;
	    else
		NRF_P2->OUTCLR = kPWM_Pin_Mask;
	}

	inline static void set_inactive()
	{
	    if constexpr (!ActiveHigh)
		NRF_P2->OUTSET = kPWM_Pin_Mask;
	    else
		NRF_P2->OUTCLR = kPWM_Pin_Mask;
	}

	void set_duty(float duty_percent)
	{
	    if (duty_percent < 0.0f) duty_percent = 0.0f;
	    if (duty_percent > 100.0f) duty_percent = 100.0f;

	    /* Boundary 0%: Disable compare events, force pin LOW */
	    if (duty_percent <= 0.0f) {
		nrf_timer_int_disable(TimerBase(), NRF_TIMER_INT_COMPARE0_MASK | NRF_TIMER_INT_COMPARE1_MASK);
		set_inactive();
		m_DutyCycleTicks = 0;
		return;
	    }

	    /* Boundary 100%: Disable compare events, force pin HIGH */
	    if (duty_percent >= 100.0f) {
		nrf_timer_int_disable(TimerBase(), NRF_TIMER_INT_COMPARE0_MASK | NRF_TIMER_INT_COMPARE1_MASK);
		set_active();
		m_DutyCycleTicks = kPWM_PeriodTicks;
		return;
	    }

	    /* Active PWM: Clamp narrow pulses (< 1.5 us) to avoid ISR re-entrancy collision */
	    uint32_t ticks = (uint32_t)((duty_percent / 100.0f) * (float)kPWM_PeriodTicks);
	    if (ticks < kPWM_MinDutyTickSize) ticks = kPWM_MinDutyTickSize;
	    if (ticks > (kPWM_PeriodTicks - kPWM_MinDutyTickSize)) ticks = kPWM_PeriodTicks - kPWM_MinDutyTickSize;

	    m_DutyCycleTicks = ticks;
	    nrf_timer_cc_set(TimerBase(), NRF_TIMER_CC_CHANNEL0, m_DutyCycleTicks);
	    nrf_timer_int_enable(TimerBase(), NRF_TIMER_INT_COMPARE0_MASK | NRF_TIMER_INT_COMPARE1_MASK);
	}

	void stop()
	{
	    nrf_timer_int_disable(TimerBase(), NRF_TIMER_INT_COMPARE0_MASK | NRF_TIMER_INT_COMPARE1_MASK);
	    nrf_timer_task_trigger(TimerBase(), NRF_TIMER_TASK_STOP);
	    m_DutyCycleTicks = 0;
	    set_inactive();
	}

	void setup()
	{
	    /* 1. Configure Port 2 pin as output */
	    NRF_P2->PIN_CNF[Pin] = (GPIO_PIN_CNF_DIR_Output << GPIO_PIN_CNF_DIR_Pos) |
		(GPIO_PIN_CNF_INPUT_Disconnect << GPIO_PIN_CNF_INPUT_Pos) |
		(GPIO_PIN_CNF_DRIVE0_H0 << GPIO_PIN_CNF_DRIVE0_Pos); /* High Drive */
	    NRF_P2->OUTCLR = kPWM_Pin_Mask;

	    /* 2. Configure 32-bit Hardware Timer */
	    nrf_timer_mode_set(TimerBase(), NRF_TIMER_MODE_TIMER);
	    nrf_timer_bit_width_set(TimerBase(), NRF_TIMER_BIT_WIDTH_32);
	    nrf_timer_prescaler_set(TimerBase(), kPWM_TimerPrescaler);

	    /* CC[1] defines the period; hardware shortcut resets timer on match */
	    nrf_timer_cc_set(TimerBase(), NRF_TIMER_CC_CHANNEL1, kPWM_PeriodTicks);
	    nrf_timer_shorts_enable(TimerBase(), NRF_TIMER_SHORT_COMPARE1_CLEAR_MASK);

	    /* 3. Connect IRQ */
	    IRQ_CONNECT(TimerIrqNum, kPWM_TimerPrio, timer_pwm_isr, NULL, 0);
	    irq_enable(TimerIrqNum);

	    /* 4. Start timer */
	    nrf_timer_task_trigger(TimerBase(), NRF_TIMER_TASK_CLEAR);
	    nrf_timer_task_trigger(TimerBase(), NRF_TIMER_TASK_START);

	    set_duty(0.0f);
	}
    private:
	static void timer_pwm_isr(const void *arg)
	{
	    if (nrf_timer_event_check(TimerBase(), NRF_TIMER_EVENT_COMPARE0)) {
		nrf_timer_event_clear(TimerBase(), NRF_TIMER_EVENT_COMPARE0);
		set_inactive();
	    }

	    /* End of period -> Set pin HIGH */
	    if (nrf_timer_event_check(TimerBase(), NRF_TIMER_EVENT_COMPARE1)) {
		nrf_timer_event_clear(TimerBase(), NRF_TIMER_EVENT_COMPARE1);
		set_active();
	    }
	}
	uint32_t m_DutyCycleTicks = 0;
    };

    constinit const struct device *pump_power = DEVICE_DT_GET(DT_NODELABEL(pump_power_ctrl));
    //constinit const struct device *pump_ctrl = DEVICE_DT_GET(DT_NODELABEL(pump_pwm_ctrl));
    constinit soft_pwm_t<NRF_TIMER00_S_BASE, TIMER00_IRQn, 3, 2000, false> pump_ctrl;

    struct request_t
    {
	param_t p;
	cb_t cb;
	void *user;
    };

    using Queue = msgq::Queue<request_t,4>;
    K_MSGQ_DEFINE_TYPED(Queue, q);

    void command(param_t p, cb_t cb, void *user)
    {
	q << request_t{std::move(p), cb, user};
    }


    void pump_thread(void *, void *, void *);

    constexpr size_t PUMP_THREAD_STACK_SIZE = 4*1024;
    constexpr size_t PUMP_THREAD_PRIORITY=2;

    K_THREAD_DEFINE(pump_thread_obj, PUMP_THREAD_STACK_SIZE,
	    pump_thread, NULL, NULL, NULL,
	    PUMP_THREAD_PRIORITY, 0, -1);

    void pump_thread(void *, void *, void *)
    {
	k_timeout_t timeout = K_FOREVER;
	uint32_t last_timestamp = k_uptime_get_32();
	uint32_t pump_start_timestamp = 0;
	uint32_t pump_timeout = 0;
	bool pump_active = false;
	while(true)
	{
	    request_t r;
	    uint32_t pre_queue_wait = k_uptime_get_32();
	    if (q.Recv(r, timeout) == -EAGAIN)
	    {
		LOG_INF("timed out. scheduling stop");
		r = {stop_t{}, nullptr, nullptr};
	    }
	    else if (pump_active)
	    {
		uint32_t now = k_uptime_get_32();
		//re-configure timeout for the rest of time
		if ((now - pre_queue_wait) <= pump_timeout)
		{
		    pump_timeout -= now - pre_queue_wait;
		    timeout = Z_TIMEOUT_MS(pump_timeout);
		}
		else
		{
		    LOG_INF("received entry, but also timed out. scheduling stop");
		    pump_timeout = 0;
		    command(stop_t{}, nullptr, nullptr);
		}
	    }

	    error_t e = std::visit(
		overloaded{
		    [&](start_t const &p)->error_t{
			error_t err;
			pump_ctrl.stop();
			k_msleep(1);
			if ((err = regulator_enable(pump_power)) < 0)
			{
			    LOG_ERR("power regulator failed: %d (%s)", err, strerror(err));
			    return err;
			}
			pump_ctrl.setup();
			//ramp up, instead of immediate
			for(float i = 0; i < p.power_percentage; i += p.power_percentage / 10)
			{
			    pump_ctrl.set_duty(i);
			    k_msleep(100);
			}
			pump_ctrl.set_duty(p.power_percentage);

			pump_active = true;
			pump_timeout = p.duration;
			timeout = Z_TIMEOUT_MS(p.duration);
			last_timestamp = k_uptime_get_32();
			pump_start_timestamp = last_timestamp;
			LOG_INF("started. for %dms", pump_timeout);
			return err;
		    },
		    [&](extend_duration_t const &p)->error_t{
			if (pump_active)
			{
			    LOG_INF("extending duration for %dms", p.additional_duration);
			    uint32_t now = k_uptime_get_32();
			    pump_timeout = now - last_timestamp + p.additional_duration;
			    timeout = Z_TIMEOUT_MS(pump_timeout);
			    last_timestamp = now;
			}
			return 0;
		    },
		    [&](set_duration_t const &p)->error_t{
			if (pump_active)
			{
			    uint32_t now = k_uptime_get_32();
			    if ((now - pump_start_timestamp) >= p.duration)
			    {
				LOG_INF("set duration: new duration (%dms) less than ellapsed. stopping", p.duration);
				//stop immediately
				command(stop_t{}, nullptr, nullptr);
			    }else
			    {
				LOG_INF("set duration: new duration (%dms) is bigger than ellapsed. extendnig", p.duration);
				//extend the timeout
				uint32_t delta = p.duration - (now - pump_start_timestamp);
				pump_timeout = now - last_timestamp + delta;
				timeout = Z_TIMEOUT_MS(pump_timeout);
				last_timestamp = now;
			    }
			}
			return 0;
		    },
		    [&](stop_t const &p)->error_t{
			pump_ctrl.stop();
			k_msleep(1);
			regulator_disable(pump_power);
			pump_ctrl.set_active();//put to GND
			timeout = K_FOREVER;
			pump_active = false;
			LOG_INF("stopped");
			return 0;
		    },
		},
		r.p
	    );
	    if (r.cb)
		r.cb(e, r.p, r.user);
	}
    }

    error_t setup_task()
    {
	if (!device_is_ready(pump_power))
	{
	    LOG_ERR("power regulator device not ready");
	    return -ENODEV;
	}
	pump_ctrl.stop();
	pump_ctrl.set_active();//put to GND

	k_thread_start(pump_thread_obj);
	return 0;
    }
}
```

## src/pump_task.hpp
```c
#ifndef PUMP_TASK_HPP_
#define PUMP_TASK_HPP_
#include <cstddef>
#include <cstdint>
#include <variant>

namespace pump
{
    struct start_t
    {
        uint32_t duration = 1000;
        float power_percentage = 100.f;//0..100%
    };
    struct extend_duration_t
    {
        uint32_t additional_duration = 1000;
    };
    struct set_duration_t
    {
        uint32_t duration = 1000;
    };
    struct stop_t
    {
    };

    using param_t = std::variant<start_t, extend_duration_t, set_duration_t, stop_t>;
    using error_t = int;
    using cb_t = void(*)(error_t err, param_t const& p, void *pUserArg);

    error_t setup_task();
    void command(param_t p, cb_t cb = nullptr, void *user = nullptr);
}
#endif
```

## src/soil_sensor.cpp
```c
#include "soil_sensor.hpp"

namespace soil
{
    int Sensor::setup(const device *power, const adc_dt_spec *sensor)
    {
	m_pPower = power;
	m_pSensor = sensor;
	return -ENOTSUP;
    }

    std::expected<int, Sensor::error_t> Sensor::measure()
    {
	return std::unexpected(-ENOTSUP);
    }
}
```

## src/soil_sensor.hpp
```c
#ifndef SOIL_SENSOR_HPP_
#define SOIL_SENSOR_HPP_

#include <zephyr/kernel.h>
#include <zephyr/drivers/adc.h>
#include <expected>

namespace soil{
    class Sensor
    {
    public:
        using error_t = int;

        int setup(const device *power, const adc_dt_spec *sensor);
        std::expected<int, error_t> measure();
    private:
        const device *m_pPower = nullptr;
        const adc_dt_spec *m_pSensor = nullptr;
    };
};
#endif
```

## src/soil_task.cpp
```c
#include "soil_task.hpp"
#include <zephyr/pm/device.h>

#include <iterator>
#include <zephyr/drivers/adc.h>
#include <zephyr/drivers/sensor.h>
#include <nrf_general/lib_msgq_typed.hpp>
#include <zephyr/logging/log.h>

LOG_MODULE_REGISTER(soil, LOG_LEVEL_INF);

namespace soil
{
    constexpr float soilMinV = 0.f;
    constexpr float soilMaxV = 2.6f;

#define SOIL_PARENT_NODE DT_NODELABEL(soil_sensors)

    /* Callback macro invoked for every child node */
#define SOIL_DEVICE_ENTRY(child_node_id) DEVICE_DT_GET(child_node_id),

    /* Compile-time array of pointers to the sensor devices */
    constinit static const device *const soil_sensors[] = {
	DT_FOREACH_CHILD_STATUS_OKAY(SOIL_PARENT_NODE, SOIL_DEVICE_ENTRY)
    };

    constexpr auto kSoilCount = std::size(soil_sensors);

    using Queue = msgq::Queue<request_t,4>;
    K_MSGQ_DEFINE_TYPED(Queue, q);

    size_t sensors_count()
    {
	return kSoilCount;
    }

    void run_measurements(request_t r)
    {
	q << r;
    }


    void measurements_thread(void *, void *, void *);

    constexpr size_t SOIL_SENSE_THREAD_STACK_SIZE = 4*1024;
    constexpr size_t SOIL_SENSE_THREAD_PRIORITY=7;

    K_THREAD_DEFINE(soil_sense_thread, SOIL_SENSE_THREAD_STACK_SIZE,
	    measurements_thread, NULL, NULL, NULL,
	    SOIL_SENSE_THREAD_PRIORITY, 0, -1);

    void measurements_thread(void *, void *, void *)
    {
	while(true)
	{
	    request_t r;
	    soil_result_t results[kSoilCount];
	    q >> r;
	    for(size_t i = 0; i < kSoilCount; ++i)
	    {
		if (r.soil_sensors_mask & (uint32_t(1) << i))
		{
		    auto *pDev = soil_sensors[i];
		    pm_device_action_run(pDev, PM_DEVICE_ACTION_RESUME);
		    if (device_is_ready(pDev))
		    {
			int err = sensor_sample_fetch(pDev);
			if (err < 0)
			{
			    results[i] = std::unexpected(err);
			    LOG_ERR("(request) Soil sensor %d: failed fetching sample with err %d (%s)", (int)i, err, strerror(err));
			}else
			{
			    sensor_value v;
			    err = sensor_channel_get(pDev, sensor_channel::SENSOR_CHAN_VOLTAGE, &v);
			    if (err < 0)
			    {
				results[i] = std::unexpected(err);
				LOG_ERR("(request) Soil sensor %d: failed getting channels value with err %d (%s)", (int)i, err, strerror(err));
			    }else
			    {
				float soil_humidity = v.val1 + float(v.val2) / 1'000'000.f;
				soil_humidity = std::clamp(soil_humidity, soilMinV, soilMaxV);
				soil_humidity = (1.f - soil_humidity / soilMaxV) * 100.f;//soil humidity in %
				results[i] = soil_humidity;
				LOG_INF("(request) Soil sensor %d: measured %.2f %% humidity (raw: %.2fV)", (int)i, (double)soil_humidity, double(v.val1) + double(v.val2) / 1'000'000.);
			    }
			}
		    }else
		    {
			results[i] = std::unexpected(-ENODEV);
			LOG_WRN("(request) Soil sensor %d not ready", (int)i);
		    }
		    pm_device_action_run(pDev, PM_DEVICE_ACTION_SUSPEND);
		}
	    }
	    if (r.callback)
	    {
		r.callback(results, kSoilCount, r.soil_sensors_mask, r.user);
	    }
	}
    }

    uint32_t setup_task()
    {
	uint32_t res = 0;
	int ready = 0;
	for(size_t i = 0; i < kSoilCount; ++i)
	{
	    if (device_is_ready(soil_sensors[i]))
	    {
		res |= uint32_t(1) << i;
		++ready;
		pm_device_action_run(soil_sensors[i], PM_DEVICE_ACTION_SUSPEND);
	    }
	    else
	    {
		LOG_WRN("Soil sensor %d not ready", i);
	    }
	}

	LOG_INF("(setup) Total soil sensors declared: %d; Ready: %d", (int)kSoilCount, ready);
	k_thread_start(soil_sense_thread);
	return res;
    }
}
```

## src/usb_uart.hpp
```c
#ifndef USB_UART_HPP_
#define USB_UART_HPP_

namespace usb_uart
{
    using usb_sense_callback_t = void(*)(bool on);

    int setup();
    void set_callback(usb_sense_callback_t cb);
    bool usb_state();
}

#endif
```
